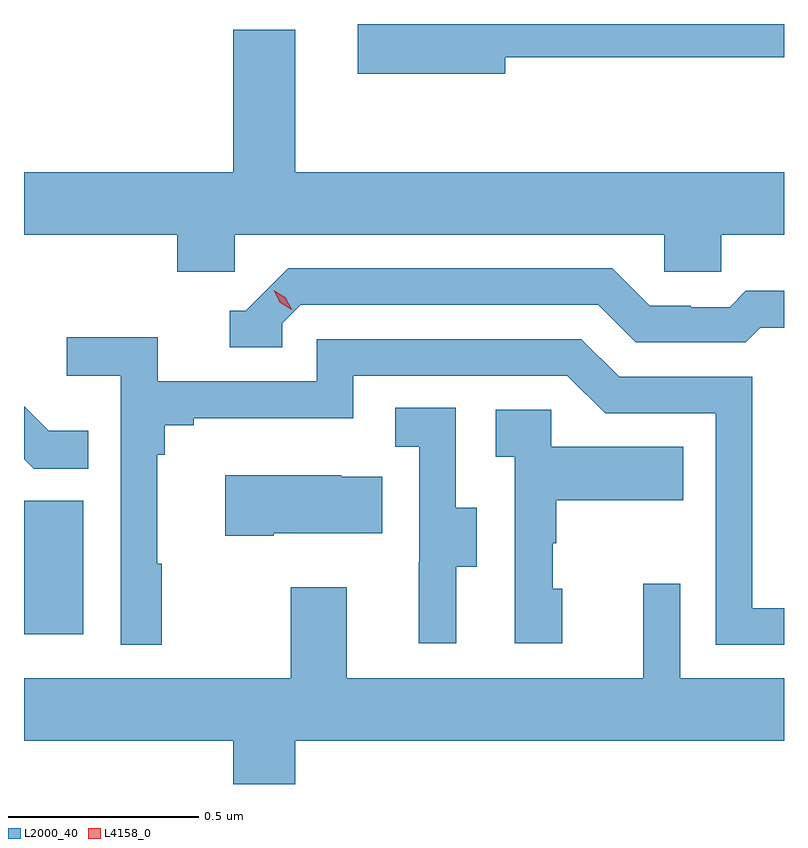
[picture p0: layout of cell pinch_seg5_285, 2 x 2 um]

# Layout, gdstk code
import gdstk
lib = gdstk.Library(unit=1e-6, precision=1e-09)
def R(c, l, rs):  # rectangles x0, y0, x1, y1
    for r in rs: c.add(gdstk.rectangle(r[:2], r[2:], *l))
def P(c, l, *ps):  # polygons
    for p in ps: c.add(gdstk.Polygon(p, *l))
L2000_40 = (2000, 40)
L4158_0 = (4158, 0)

pinch_seg5_285 = lib.new_cell('pinch_seg5_285')
R(pinch_seg5_285, L2000_40, [(907.714,897,907.87,897.351)])
P(pinch_seg5_285, L2000_40, [(908.98,898.518),(909.714,898.518),(909.714,898.606),(908.592,898.606),(908.592,898.475),(908.98,898.475)],
  [(908.268,898.052),(909.399,898.052),(909.399,897.954),(909.549,897.954),(909.549,898.052),(909.714,898.052),(909.714,898.216),(908.428,898.216),(908.428,898.591),(908.264,898.591),(908.264,898.216),(907.714,898.216),(907.714,898.052),(908.117,898.052),(908.117,897.954),(908.268,897.954)],
  [(908.394,897.819),(908.442,897.867),(909.225,897.867),(909.324,897.768),(909.613,897.768),(909.652,897.807),(909.714,897.807),(909.714,897.904),(909.613,897.904),(909.571,897.861),(909.468,897.861),(909.468,897.864),(909.361,897.864),(909.262,897.963),(908.409,897.963),(908.298,897.852),(908.255,897.852),(908.255,897.756),(908.394,897.756)],
  [(908.077,897.185),(908.065,897.185),(908.065,897.473),(908.084,897.473),(908.084,897.55),(908.161,897.55),(908.161,897.569),(908.58,897.569),(908.58,897.681),(909.144,897.681),(909.243,897.582),(909.534,897.582),(909.534,896.973),(909.714,896.973),(909.714,897.069),(909.63,897.069),(909.63,897.678),(909.28,897.678),(909.181,897.777),(908.484,897.777),(908.484,897.666),(908.066,897.666),(908.066,897.782),(907.827,897.782),(907.827,897.68),(907.968,897.68),(907.968,896.973),(908.077,896.973)],
  [(907.883,897.535),(907.779,897.535),(907.714,897.6),(907.714,897.461),(907.739,897.436),(907.883,897.436)],
  [(908.851,897.178),(908.905,897.178),(908.905,897.333),(908.85,897.333),(908.85,897.596),(908.691,897.596),(908.691,897.493),(908.754,897.493),(908.754,897.189),(908.753,897.189),(908.753,896.976),(908.851,896.976)],
  [(909.13,897.12),(909.105,897.12),(909.105,897.239),(909.115,897.239),(909.115,897.353),(909.449,897.353),(909.449,897.493),(909.102,897.493),(909.102,897.591),(908.955,897.591),(908.955,897.467),(909.006,897.467),(909.006,896.976),(909.13,896.976)],
  [(908.371,897.266),(908.657,897.266),(908.657,897.415),(908.549,897.415),(908.549,897.418),(908.243,897.418),(908.243,897.259),(908.371,897.259)],
  [(908.428,896.72),(909.714,896.72),(909.714,896.884),(909.441,896.884),(909.441,897.133),(909.344,897.133),(909.344,896.884),(908.563,896.884),(908.563,897.124),(908.416,897.124),(908.416,896.884),(907.714,896.884),(907.714,896.72),(908.264,896.72),(908.264,896.606),(908.428,896.606)])
P(pinch_seg5_285, L4158_0, [(908.418,897.854),(908.388,897.873),(908.371,897.905),(908.371,897.905),(908.371,897.905),(908.402,897.887),(908.419,897.855),(908.419,897.854)])

lib.write_gds('pinch_seg5_285.gds')
